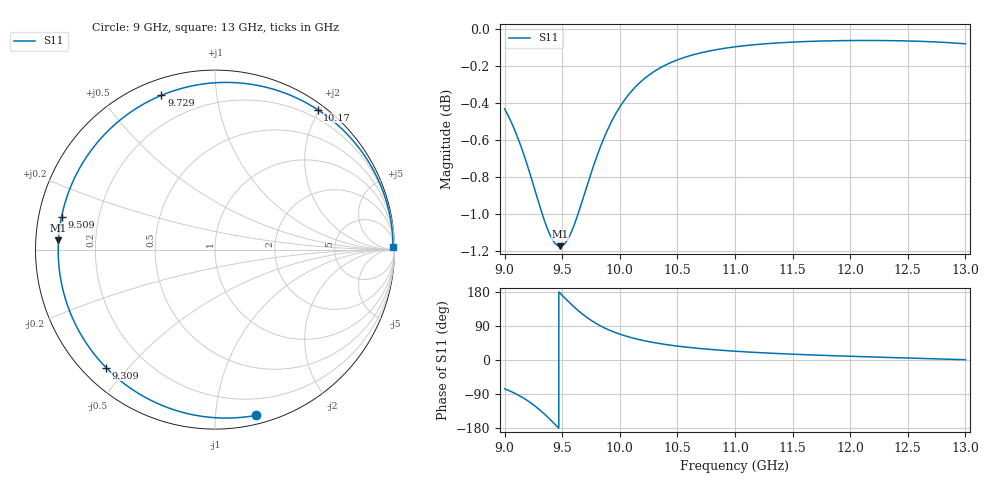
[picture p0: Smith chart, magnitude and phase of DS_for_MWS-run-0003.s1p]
! TOUCHSTONE file generated by CST DESIGN STUDIO
! Date and time: Wed Feb  5 13:43:16 2025
! Project name: C:\Work\MatlabApps\UnitCellOptimizationMatlab\CST\unitcell.cst
! Tree item: Tasks\Sweep1\SPara1\S-Parameters
! Header version: 2024
! Port assignment regex: !\s*Touchstone port\s*([0-9]+)\s*=\s*(CST MWS port|CST DES external port|CST DES block port)\s*(.+)\s* \(\"(.*)\"\)(\s*mode\s*([0-9]+))?.*
! Touchstone port assignment:
! Touchstone port 1 = CST DES external port 1 ("")
# GHz S MA R 50
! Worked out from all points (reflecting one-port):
!   4001 points, 9 GHz to 13 GHz, reference 50 ohm
!   lowest |S11| = -1.2 dB at 9.481 GHz (marker M1), VSWR 14.82, Z = 3.38 + j1.49 ohm
!   phase of S11 starts at -76 deg and turns -283 deg over the sweep
!   S11 on the Smith chart (normalised r, x): 9 GHz: 0.07, -1.28; 9.309 GHz: 0.07, -0.44; 9.509 GHz: 0.07, +0.11; 9.729 GHz: 0.07, +0.71; 10.17 GHz: 0.08, +1.97; 13 GHz: open
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9  0.9516 -76.0
9.078  0.9406 -86.4
9.176  0.923 -102.8
9.245  0.9086 -117.1
9.309  0.8948 -132.7
9.354  0.886 -145.0
9.402  0.8787 -159.0
9.442  0.8748 -171.3
9.481  0.8735 176.6
9.5  0.8739 170.7
9.509  0.8742 167.9
9.561  0.8788 152.1
9.622  0.8884 134.9
9.674  0.8985 121.6
9.729  0.9098 109.2
9.783  0.9205 98.6
9.843  0.9312 88.4
9.92  0.9429 77.5
10  0.9527 68.3
10.17  0.967 53.7
10.32  0.9749 44.7
10.5  0.981 36.7
10.722  0.9857 29.6
11  0.9891 23.2
11.5  0.992 15.3
12  0.9929 9.8
12.5  0.9927 5.2
13  0.9909 0.7
